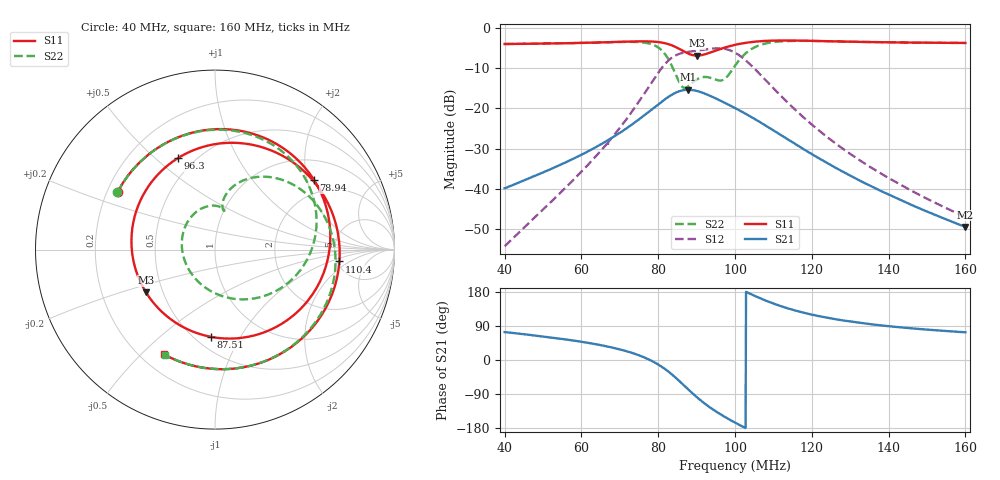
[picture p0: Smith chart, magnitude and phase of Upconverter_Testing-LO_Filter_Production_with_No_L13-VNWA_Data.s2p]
! ListType=Lin
# MHZ S DB R 50
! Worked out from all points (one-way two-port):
!   1024 points, 40 MHz to 160 MHz, reference 50 ohm
!   highest |S21| = -15.38 dB at 87.74 MHz (marker M1); lowest = -49.5 dB at 160 MHz (marker M2)
!   lowest |S11| = -6.9 dB at 90.09 MHz (marker M3), VSWR 2.65, Z = 20.2 - j12.1 ohm
!   |S11| at or under -10 dB: nowhere
!   |S22| runs from -14.9 to -3.2 dB; largest |S21 - S12| = 0.58
!   S11 on the Smith chart (normalised r, x): 40 MHz: 0.24, +0.26; 78.94 MHz: 1.54, +2.20; 87.51 MHz: 0.60, -0.76; 96.3 MHz: 0.41, +0.59; 110.4 MHz: 5.23, -1.33; 160 MHz: 0.29, -0.59
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40  -4.00 149.2  -39.88 73.7  -54.29 -127.7  -4.01 149.6
60.05865  -3.73 118.7  -31.53 48.1  -35.72 -151.8  -3.74 119.0
66.97947  -3.55 100.1  -27.90 35.2  -28.41 -166.7  -3.57 99.7
72.72727  -3.39 76.9  -24.33 20.2  -21.40 173.9  -3.47 74.7
76.12903  -3.34 57.2  -21.93 7.8  -16.69 156.0  -3.62 51.8
78.94428  -3.42 35.2  -19.82 -5.8  -12.62 134.3  -4.30 23.8
80  -3.52 25.1  -19.02 -11.9  -11.15 124.0  -4.86 10.2
81.64223  -3.78 6.8  -17.83 -22.9  -9.13 105.3  -6.36 -15.6
83.63636  -4.37 -20.7  -16.58 -38.6  -7.35 79.9  -9.61 -56.7
85.7478  -5.35 -57.1  -15.67 -57.8  -6.37 53.0  -14.00 -119.4
87.50733  -6.26 -92.7  -15.39 -74.6  -6.00 32.7  -14.72 179.2
87.74194  -6.36 -97.7  -15.38 -76.9  -5.96 30.1  -14.57 172.2
90.08798  -6.89 -148.1  -15.69 -98.3  -5.66 5.7  -12.78 122.0
92.78592  -6.38 161.5  -16.60 -120.0  -5.30 -21.6  -12.23 89.8
96.30499  -5.20 112.2  -18.14 -143.8  -5.10 -59.7  -13.09 77.0
100.0587  -4.20 72.3  -19.95 -165.5  -6.18 -103.5  -9.34 76.5
104.3988  -3.50 35.1  -22.25 172.6  -9.49 -148.5  -5.19 43.7
110.3812  -3.15 -5.4  -25.71 147.6  -15.37 169.0  -3.49 -1.1
120  -3.23 -49.8  -31.40 119.8  -24.03 130.4  -3.25 -48.1
127.9765  -3.39 -73.2  -35.72 104.6  -29.98 111.8  -3.39 -72.2
140.0587  -3.59 -95.6  -41.49 89.2  -37.38 93.6  -3.58 -94.9
160  -3.75 -116.0  -49.50 73.1  -47.05 75.5  -3.75 -115.4
